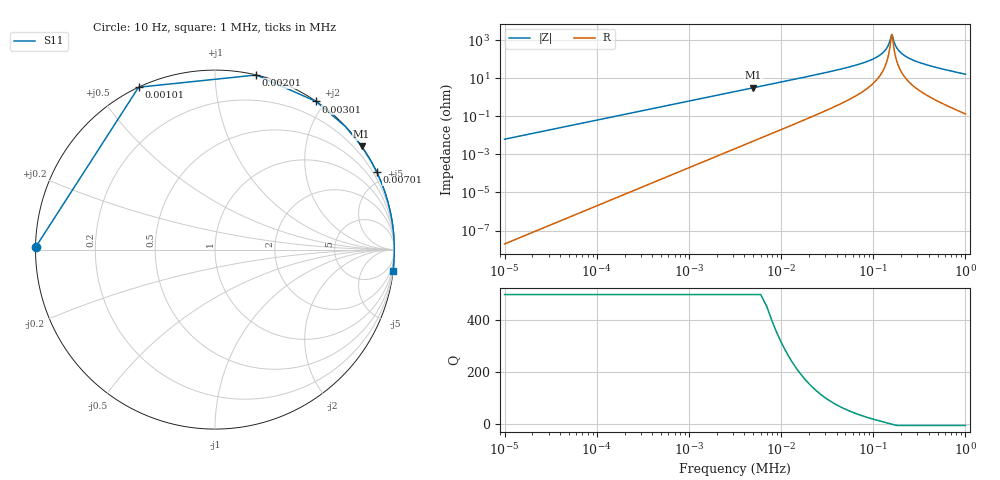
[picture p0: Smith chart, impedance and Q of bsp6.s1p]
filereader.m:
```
% function [w,yz,ys]=filereader

% Reads touchstone file and plots information 
%
% EXAMPLE :
% IN.file = '../sample_files/bsp1.s1p';
% 
% 
clear
addpath incomming/s-param_toolbox/sbox/

IN.file = '../sample_files/bsp6.s1p';

% read Datafile
fid_log = fopen('SXPParse_log.txt','w');
[freq, data, freq_noise, data_noise, Zo] = SXPParse(IN.file, fid_log);


% Extract data from one port
yz = s2z(Zo,data);
ys = yz;  %Umrechnen auf 50ohm R0
ys = z2s(50,ys);    
yz = yz(:);
ys = ys(:);
w=freq*2*pi;




% subplot(221)
% semilogx(freq,abs(parsed))
% title('magnitude')
% grid on
% 
% subplot(223)
% semilogx(freq,angle(parsed))
% title('phase')
% grid on
% 
% subplot(222)
% plot(freq,real(parsed))
% grid on
% hold on
%smithchart(parsed)
% end


% This only works with RF toolbox
% data = read(rfdata.data,'../sample_files/bsp1.s1p');
```
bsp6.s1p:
! AWR Design Environment (7670) Wed Feb 10 15:01:30 2016
! Document = 'bsp6'
! nPorts: 1, nXvals: 1001
# HZ Z RI R 1
!Freq ReZ11 ImZ11
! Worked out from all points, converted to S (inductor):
!   1001 points, 10 Hz to 1 MHz, reference 1 ohm
!   read as one part to ground: L = 100 uH near 5.01 kHz
!   highest Q = 635 at 5.01 kHz (marker M1), where L = 100 uH
!   self-resonance near 159 kHz
!   S11 on the Smith chart (normalised r, x): 10 Hz: 0.00, +0.01; 1.01 kHz: 0.00, +0.63; 2.01 kHz: 0.00, +1.26; 3.01 kHz: 0.00, +1.89; 7.01 kHz: 0.01, +4.41; 1 MHz: 0, -16
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10  1.97e-08 0.00628
1010  0.000201 0.6346
2010  0.000798 1.263
3010  0.00179 1.892
5010  0.00496 3.151
6010  0.00715 3.782
7010  0.00974 4.413
10010  0.0199 6.314
17010  0.0584 10.81
28010  0.1649 18.16
46010  0.4974 31.54
334010  1.898 -61.59
667010  0.32 -25.3
1000000  0.1333 -16.33
